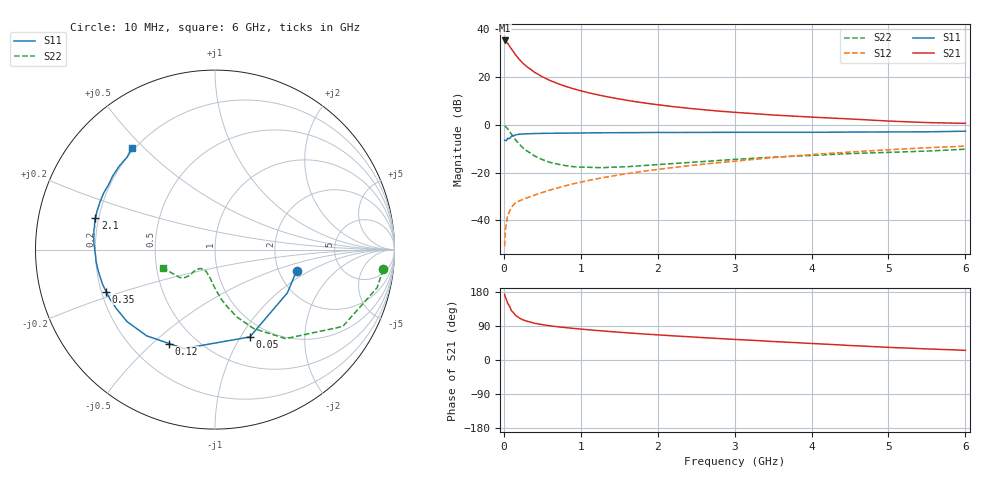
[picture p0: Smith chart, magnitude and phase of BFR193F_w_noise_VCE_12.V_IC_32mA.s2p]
! Infineon Technologies  Discrete & RF Semiconductors
! BFR193F
! VCE =  12. V,  IC =  32 mA
! Common Emitter S-Parameters:  Jan 2017
# GHz  S  MA  R  50
!  f  S11  S21  S12  S22
! GHz  MAG  ANG  MAG  ANG  MAG  ANG  MAG  ANG
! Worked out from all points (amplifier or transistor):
!   77 points, 10 MHz to 6 GHz, reference 50 ohm
!   highest |S21| = 35.2 dB at 10 MHz (marker M1)
!   |S21| within 3 dB of that: start of sweep to 86.95 MHz
!   unconditionally stable (mu >= 1): 1.168 GHz to 2.673 GHz
!   at 130 MHz: K = 0.36, MSG = 31.8 dB, |S12| = -33.4 dB
!   at 2.2 GHz: K = 1.02, MAG = 11.8 dB, |S12| = -17.9 dB
!   at 6 GHz: K = 0.84, MSG = 4.8 dB, |S12| = -8.9 dB
!   lowest NFmin = 1.21 dB at 450 MHz
!   S11 on the Smith chart (normalised r, x): 10 MHz: 2.50, -0.76; 50 MHz: 0.82, -1.10; 120 MHz: 0.36, -0.56; 350 MHz: 0.22, -0.18; 2.1 GHz: 0.19, +0.13; 6 GHz: 0.19, +0.46
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0.01  0.4697 -14.6  57.66 172.9  0.0029 71.6  0.9436 -6.7
0.02  0.4699 -30.9  56.36 166.3  0.0061 77.0  0.928 -13.2
0.05  0.5238 -68.3  50.19 149.6  0.0126 65.7  0.831 -31.0
0.1  0.5782 -107.5  38.22 129.8  0.0189 53.0  0.6331 -51.6
0.12  0.5826 -116.1  34.46 125.9  0.0206 50.9  0.5724 -55.8
0.15  0.613 -128.4  29.21 118.3  0.0233 48.4  0.4888 -64.0
0.2  0.6332 -140.7  23.28 110.9  0.0255 48.1  0.3954 -71.9
0.25  0.6405 -149.2  19.14 105.9  0.0276 47.7  0.3268 -77.7
0.3  0.6473 -155.0  16.27 102.3  0.0296 50.2  0.2829 -82.3
0.35  0.65 -158.9  14.33 99.9  0.0317 52.1  0.2519 -85.3
0.4  0.6556 -162.7  12.41 96.8  0.0339 53.8  0.2218 -89.2
0.5  0.6591 -167.6  10.04 93.3  0.0384 56.5  0.1869 -94.4
0.6  0.6628 -171.5  8.43 90.2  0.0432 58.9  0.1636 -99.1
0.7  0.6659 -174.6  7.252 87.7  0.0478 61.2  0.15 -103.2
0.8  0.666 -176.9  6.355 85.5  0.0529 63.4  0.1398 -107.6
1.1  0.6756 177.3  4.662 79.8  0.0683 67.4  0.1292 -116.8
1.5  0.6821 171.7  3.454 73.3  0.0895 70.0  0.1312 -125.7
2.1  0.689 165.1  2.503 65.1  0.1218 71.5  0.1506 -132.3
3.1  0.6939 156.4  1.772 53.3  0.1793 71.1  0.1928 -134.2
4.1  0.6958 147.6  1.418 42.6  0.2438 68.3  0.2325 -138.0
5.1  0.708 137.7  1.177 32.5  0.3059 63.4  0.268 -149.3
6  0.7327 129.2  1.068 25.5  0.3572 58.5  0.3084 -160.9
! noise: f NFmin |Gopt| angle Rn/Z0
0.45  1.21  0.4  177  0.06
0.9  1.3  0.43  177  0.07
1.9  1.86  0.58  -167  0.07
2.4  2.15  0.61  -158  0.12
